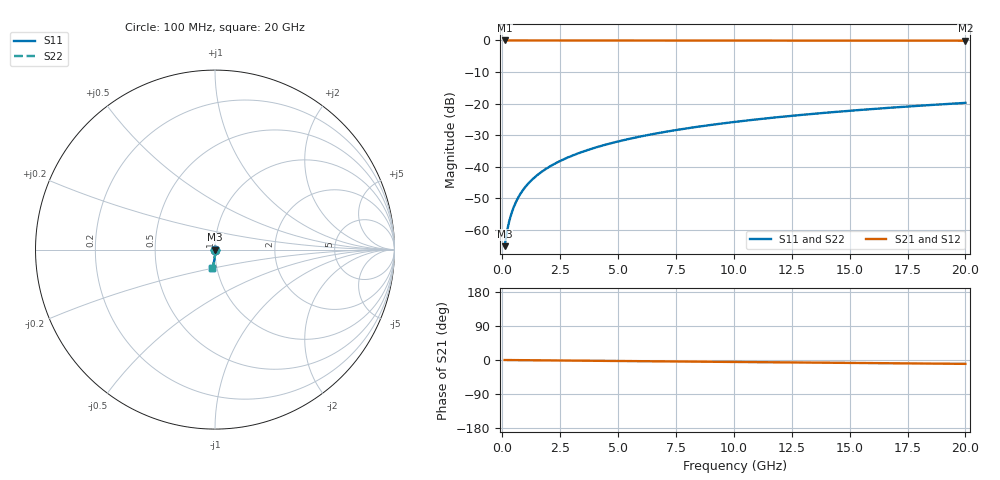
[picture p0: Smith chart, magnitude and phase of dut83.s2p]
! Touchstone file exported from HFSS 2026.1.0
!  File:  C:/ffzhzh/LocalFiles/Ansys_Project_Files/temp_train_TSV_83_1782959496_45568.aedt
!  Generated:  10:33:03 AM Jul  2, 2026
!  Design:  TSV
!  Project:  temp_train_TSV_83_1782959496_45568
! Variables:
!  h_bsmrdl = 2um
!  h_ox = 20um
!  h_rdl = 5um
!  h_sub = 91.49um
!  h_tmrdl = 5um
!  h_tsv = 91.49um
!  h_via = 3um
!  l_bsmrdl = 300um
!  l_sub = 411.7um
!  l_tmrdl = 200um
!  m_sub = 200um
!  pitch = 14.51um
!  r_tsv = 5.85um
!  s_tmrdl = 10um
!  w_bsmrdl = 18um
!  w_sub = 500um
!  w_tmrdl = 12um
!  x_tsv_center1 = 206um
!  x_tsv_center2 = 524um
!  x_tsv_center3 = 736um
!  x_tsv_center4 = 1054um
!  x_tsv_center5 = 1266um
!  x_tsv_center6 = 1584um
# GHz S MA R 50.000000
! Terminal data exported
! Port[1] = TSV1_1_T1
! Port[2] = TSV1_1_T2
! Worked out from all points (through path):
!   200 points, 100 MHz to 20 GHz, reference 50 ohm
!   highest |S21| = 0.00 dB at 100 MHz (marker M1); lowest = -0.1 dB at 20 GHz (marker M2)
!   group delay of S21, straight-line fit = 1.41 ps
!   lowest |S11| = -65.1 dB at 100 MHz (marker M3), VSWR 1.00, Z = 50 - j0.0417 ohm
!   |S11| at or under -10 dB: start of sweep to end of sweep
!   |S22| runs from -65.1 to -19.8 dB; largest |S21 - S12| = 1.5e-15
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0.1  0.0005527 -48.9  0.9996 -0.1  0.9996 -0.1  0.0005527 -48.9
! Gamma 0 0 0 0
! Port Impedance 50 0 50 0
0.2  0.0009384 -64.6  0.9996 -0.1  0.9996 -0.1  0.0009384 -64.6
0.3  0.001377 -70.9  0.9995 -0.2  0.9995 -0.2  0.001377 -70.9
0.4  0.001843 -74.2  0.9995 -0.2  0.9995 -0.2  0.001843 -74.2
0.5  0.002325 -76.4  0.9994 -0.3  0.9994 -0.3  0.002325 -76.4
0.7  0.003313 -79.3  0.9994 -0.4  0.9994 -0.4  0.003313 -79.3
0.8  0.003812 -80.4  0.9993 -0.4  0.9993 -0.4  0.003812 -80.4
1  0.004813 -82.0  0.9993 -0.5  0.9993 -0.5  0.004813 -82.0
1.2  0.005816 -83.1  0.9992 -0.6  0.9992 -0.6  0.005816 -83.1
1.4  0.00682 -84.0  0.9992 -0.7  0.9992 -0.7  0.00682 -84.0
1.7  0.008326 -85.0  0.9991 -0.9  0.9991 -0.9  0.008326 -85.0
2  0.009834 -85.8  0.999 -1.1  0.999 -1.1  0.009834 -85.8
2.7  0.01337 -87.0  0.9989 -1.4  0.9989 -1.4  0.01337 -87.0
3.5  0.01744 -87.9  0.9987 -1.8  0.9987 -1.8  0.01744 -87.9
4.2  0.02103 -88.6  0.9984 -2.2  0.9984 -2.2  0.02103 -88.6
5  0.02515 -89.2  0.9982 -2.6  0.9982 -2.6  0.02515 -89.2
6.8  0.03447 -90.6  0.9976 -3.5  0.9976 -3.5  0.03447 -90.6
8.3  0.04226 -91.6  0.9971 -4.3  0.9971 -4.3  0.04226 -91.6
10.1  0.05161 -92.8  0.9965 -5.2  0.9965 -5.2  0.05161 -92.8
13.4  0.06871 -94.8  0.9951 -6.9  0.9951 -6.9  0.06871 -94.8
16.7  0.08574 -96.7  0.9935 -8.5  0.9935 -8.5  0.08574 -96.7
20  0.1027 -98.5  0.9916 -10.2  0.9916 -10.2  0.1027 -98.5
